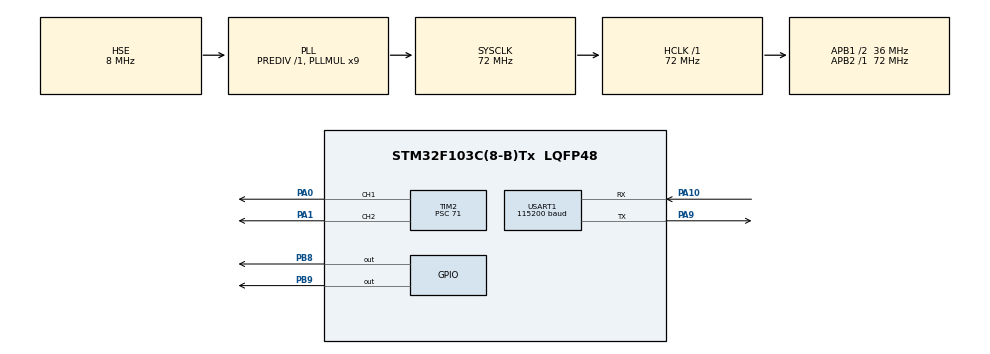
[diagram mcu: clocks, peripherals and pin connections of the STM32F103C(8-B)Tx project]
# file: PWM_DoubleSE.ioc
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Mcu.Family=STM32F1
Mcu.Name=STM32F103C(8-B)Tx
Mcu.Package=LQFP48
NVIC.PriorityGroup=NVIC_PRIORITYGROUP_4
NVIC.USART1_IRQn=true\:0\:0\:false\:false\:true\:true\:true\:true
PA0-WKUP.Signal=S_TIM2_CH1_ETR
PA1.Signal=S_TIM2_CH2
PA10.Mode=Asynchronous
PA10.Signal=USART1_RX
PA13.Mode=Serial_Wire
PA13.Signal=SYS_JTMS-SWDIO
PA14.Mode=Serial_Wire
PA14.Signal=SYS_JTCK-SWCLK
PA9.Mode=Asynchronous
PA9.Signal=USART1_TX
PB8.Signal=GPIO_Output
PB9.Signal=GPIO_Output
PC14-OSC32_IN.Mode=LSE-External-Oscillator
PC14-OSC32_IN.Signal=RCC_OSC32_IN
PC15-OSC32_OUT.Mode=LSE-External-Oscillator
PC15-OSC32_OUT.Signal=RCC_OSC32_OUT
PD0-OSC_IN.Mode=HSE-External-Oscillator
PD0-OSC_IN.Signal=RCC_OSC_IN
PD1-OSC_OUT.Mode=HSE-External-Oscillator
PD1-OSC_OUT.Signal=RCC_OSC_OUT
ProjectManager.HeapSize=0x200
ProjectManager.StackSize=0x400
ProjectManager.TargetToolchain=CMake
RCC.AHBFreq_Value=72000000
RCC.APB1CLKDivider=RCC_HCLK_DIV2
RCC.APB1Freq_Value=36000000
RCC.APB1TimFreq_Value=72000000
RCC.APB2Freq_Value=72000000
RCC.APB2TimFreq_Value=72000000
RCC.HCLKFreq_Value=72000000
RCC.PLLMUL=RCC_PLL_MUL9
RCC.PLLSourceVirtual=RCC_PLLSOURCE_HSE
RCC.SYSCLKFreq_VALUE=72000000
RCC.SYSCLKSource=RCC_SYSCLKSOURCE_PLLCLK
RCC.USBFreq_Value=72000000
SH.S_TIM2_CH1_ETR.0=TIM2_CH1,PWM Generation1 CH1
SH.S_TIM2_CH2.0=TIM2_CH2,PWM Generation2 CH2
TIM2.Channel-PWM\ Generation1\ CH1=TIM_CHANNEL_1
TIM2.Channel-PWM\ Generation2\ CH2=TIM_CHANNEL_2
TIM2.Period=19999
TIM2.Prescaler=71
TIM2.Pulse-PWM\ Generation1\ CH1=1500
TIM2.Pulse-PWM\ Generation2\ CH2=550
USART1.BaudRate=115200
USART1.VirtualMode=VM_ASYNC
VP_TIM2_VS_ClockSourceINT.Mode=Internal
board=custom

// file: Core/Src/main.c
/* USER CODE BEGIN Header */
/**
  ******************************************************************************
  * @file           : main.c
  * @brief          : Main program body
  ******************************************************************************
  * @attention
  *
  * Copyright (c) 2026 STMicroelectronics.
  * All rights reserved.
  *
  * This software is licensed under terms that can be found in the LICENSE file
  * in the root directory of this software component.
  * If no LICENSE file comes with this software, it is provided AS-IS.
  *
  ******************************************************************************
  */
/* USER CODE END Header */
#include "main.h"
#include "tim.h"
#include "usart.h"
#include "gpio.h"

/* USER CODE BEGIN PD */
#define YAW_STEP    100      // 每次Yaw移动的步长
#define PITCH_STEP  100     // 每次Pitch移动的步长

#define YAW_MIN     500     // Yaw最小脉冲宽度 ,对应0°
#define YAW_MAX     2500    // Yaw最大脉冲宽度 ,对应180°
#define PITCH_MIN   500     // Pitch最小脉冲宽度,对应0°
#define PITCH_MAX   2500    // Pitch最大脉冲宽度对应180°
/* USER CODE END PD */

/* USER CODE BEGIN PV */
volatile uint16_t current_yaw = 1500;
volatile uint16_t current_pitch = 550;

uint8_t rx_data;
/* USER CODE END PV */

void SystemClock_Config(void);

int main(void)
{

  /* MCU Configuration--------------------------------------------------------*/

  /* Reset of all peripherals, Initializes the Flash interface and the Systick. */
  HAL_Init();

  /* Configure the system clock */
  SystemClock_Config();

  /* Initialize all configured peripherals */
  MX_GPIO_Init();
  MX_TIM2_Init();
  MX_USART1_UART_Init();
  /* USER CODE BEGIN 2 */
  HAL_TIM_PWM_Start(&htim2, TIM_CHANNEL_1);
  HAL_TIM_PWM_Start(&htim2, TIM_CHANNEL_2);

  HAL_UART_Receive_IT(&huart1, &rx_data, 1);
  /* USER CODE END 2 */

  /* Infinite loop */
  while (1)
  {

  }
}

void SystemClock_Config(void)
{
  RCC_OscInitTypeDef RCC_OscInitStruct = {0};
  RCC_ClkInitTypeDef RCC_ClkInitStruct = {0};

  /** Initializes the RCC Oscillators according to the specified parameters
  * in the RCC_OscInitTypeDef structure.
  */
  RCC_OscInitStruct.OscillatorType = RCC_OSCILLATORTYPE_HSE;
  RCC_OscInitStruct.HSEState = RCC_HSE_ON;
  RCC_OscInitStruct.HSEPredivValue = RCC_HSE_PREDIV_DIV1;
  RCC_OscInitStruct.HSIState = RCC_HSI_ON;
  RCC_OscInitStruct.PLL.PLLState = RCC_PLL_ON;
  RCC_OscInitStruct.PLL.PLLSource = RCC_PLLSOURCE_HSE;
  RCC_OscInitStruct.PLL.PLLMUL = RCC_PLL_MUL9;
  if (HAL_RCC_OscConfig(&RCC_OscInitStruct) != HAL_OK)
  {
    Error_Handler();
  }

  /** Initializes the CPU, AHB and APB buses clocks
  */
  RCC_ClkInitStruct.ClockType = RCC_CLOCKTYPE_HCLK|RCC_CLOCKTYPE_SYSCLK
                              |RCC_CLOCKTYPE_PCLK1|RCC_CLOCKTYPE_PCLK2;
  RCC_ClkInitStruct.SYSCLKSource = RCC_SYSCLKSOURCE_PLLCLK;
  RCC_ClkInitStruct.AHBCLKDivider = RCC_SYSCLK_DIV1;
  RCC_ClkInitStruct.APB1CLKDivider = RCC_HCLK_DIV2;
  RCC_ClkInitStruct.APB2CLKDivider = RCC_HCLK_DIV1;

  if (HAL_RCC_ClockConfig(&RCC_ClkInitStruct, FLASH_LATENCY_2) != HAL_OK)
  {
    Error_Handler();
  }
}

/* USER CODE BEGIN 4 */
void HAL_UART_RxCpltCallback(UART_HandleTypeDef *huart)
{
  if (huart->Instance == USART1)
  {
    switch (rx_data)
    {
      case 's':
      case 'S':
        current_pitch += PITCH_STEP;
        if (current_pitch > PITCH_MAX) current_pitch = PITCH_MAX;
        break;
      case 'w':
      case 'W':
        current_pitch -= PITCH_STEP;
        if (current_pitch < PITCH_MIN) current_pitch = PITCH_MIN;
        break;
      case 'd':
      case 'D':
        current_yaw -= YAW_STEP;
        if (current_yaw < YAW_MIN) current_yaw = YAW_MIN;
        break;
      case 'a':
      case 'A':
        current_yaw += YAW_STEP;
        if (current_yaw > YAW_MAX) current_yaw = YAW_MAX;
        break;
      default:
        break;
    }

    __HAL_TIM_SET_COMPARE(&htim2, TIM_CHANNEL_1, current_yaw);
    __HAL_TIM_SET_COMPARE(&htim2, TIM_CHANNEL_2, current_pitch);

    HAL_UART_Receive_IT(&huart1, &rx_data, 1);
  }
}
/* USER CODE END 4 */

void Error_Handler(void)
{
  __disable_irq();
  while (1)
  {
  }
}
